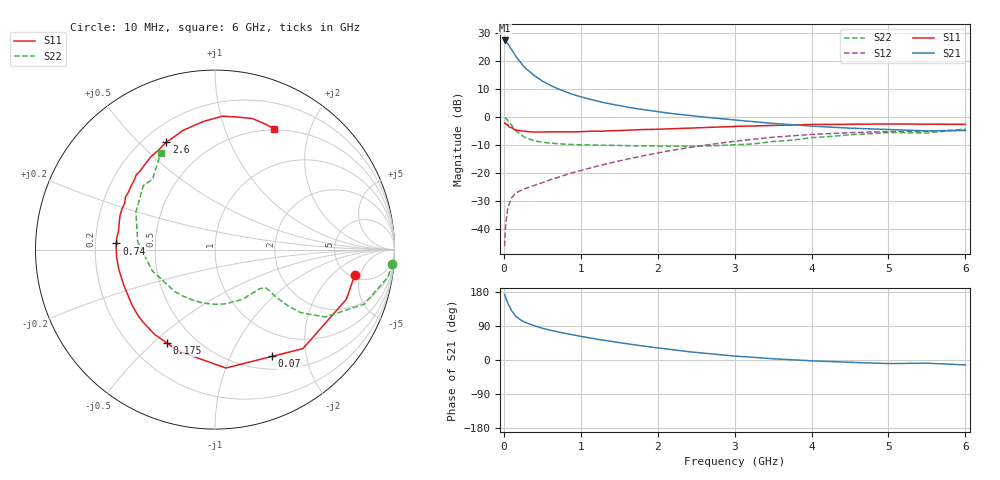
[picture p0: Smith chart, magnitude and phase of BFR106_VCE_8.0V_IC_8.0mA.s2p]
! Infineon Technologies  Discrete & RF Semiconductors
! BFR106
! VCE =  8.0 V,  IC =  8.0 mA
! Common Emitter S-Parameters:  Nov 2015
# GHz  S  MA  R  50
!  f  S11  S21  S12  S22
! GHz  MAG  ANG  MAG  ANG  MAG  ANG  MAG  ANG
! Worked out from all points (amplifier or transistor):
!   210 points, 10 MHz to 6 GHz, reference 50 ohm
!   highest |S21| = 27.4 dB at 10 MHz (marker M1)
!   |S21| within 3 dB of that: start of sweep to 93.67 MHz
!   unconditionally stable (mu >= 1): 534.7 MHz to 1.923 GHz; 5.248 GHz to end of sweep
!   at 185 MHz: K = 0.50, MSG = 23.7 dB, |S12| = -26.6 dB
!   at 1.52 GHz: K = 1.07, MAG = 8.1 dB, |S12| = -15.4 dB
!   at 6 GHz: K = 1.01, MAG = -0.8 dB, |S12| = -4.4 dB
!   S11 on the Smith chart (normalised r, x): 10 MHz: 5.33, -4.10; 70 MHz: 0.67, -1.45; 175 MHz: 0.35, -0.55; 740 MHz: 0.29, +0.03; 2.6 GHz: 0.29, +0.61; 6 GHz: 0.48, +1.49
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0.01  0.7907 -10.5  23.52 172.7  0.005 87.9  0.9903 -4.5
0.02  0.7826 -20.7  23.23 167.0  0.01 78.5  0.9758 -9.0
0.05  0.7377 -48.4  20.7 149.7  0.0229 67.0  0.8852 -20.1
0.07  0.6747 -61.8  18.65 142.9  0.0282 60.9  0.8149 -24.1
0.1  0.6626 -84.7  16.21 129.9  0.0366 55.1  0.7186 -31.5
0.15  0.6015 -109.5  12.54 116.3  0.0435 47.3  0.591 -36.4
0.175  0.5849 -117.4  11.32 112.7  0.0457 46.6  0.5516 -37.0
0.2  0.58 -125.6  10.15 108.2  0.0479 46.0  0.5123 -37.6
0.24  0.5688 -135.0  8.712 103.1  0.0508 45.5  0.4677 -37.8
0.3  0.5561 -146.4  7.113 97.1  0.0546 46.5  0.4236 -37.8
0.4  0.5452 -159.1  5.493 89.9  0.0612 49.3  0.3797 -37.0
0.5  0.5467 -168.0  4.426 83.9  0.0678 52.0  0.3575 -37.0
0.6  0.5502 -175.4  3.737 78.8  0.0761 54.6  0.3466 -38.0
0.74  0.5503 176.4  3.081 72.6  0.0879 57.9  0.3344 -40.4
1.02  0.5564 163.2  2.281 61.6  0.1139 61.9  0.3234 -46.5
1.4  0.5781 149.7  1.709 49.1  0.1547 63.8  0.3165 -58.4
2.02  0.6123 130.3  1.247 31.4  0.2336 61.0  0.3058 -83.4
2.6  0.6578 114.3  1.009 17.9  0.3154 54.5  0.3072 -112.0
3.1  0.6914 103.2  0.87 9.1  0.3859 46.6  0.3265 -140.2
4.1  0.7446 85.4  0.684 -2.9  0.5011 28.6  0.4398 169.7
5.1  0.7574 72.7  0.598 -9.2  0.557 12.3  0.5326 136.9
6  0.7488 64.1  0.58 -12.9  0.5995 0.7  0.6164 119.3
